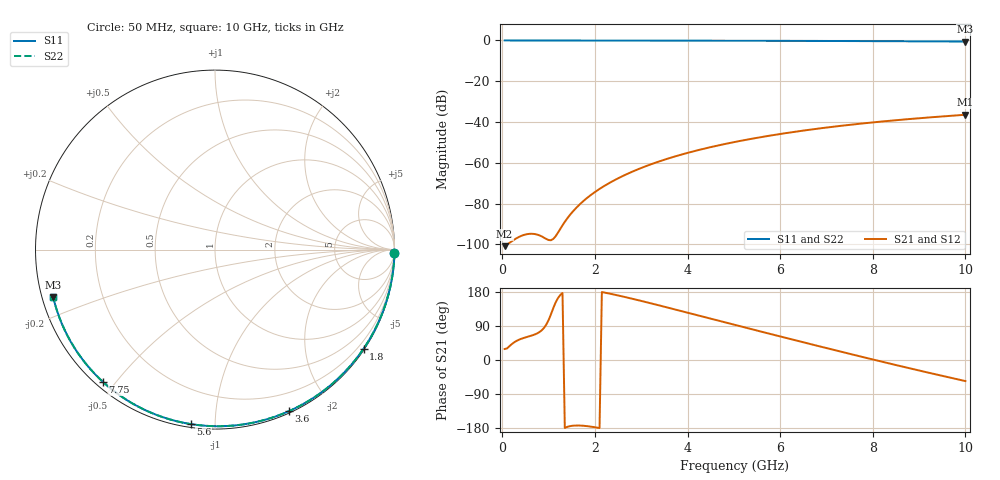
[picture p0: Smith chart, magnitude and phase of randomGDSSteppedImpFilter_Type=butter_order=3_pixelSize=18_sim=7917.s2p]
! freq	dB(S11)	phase(S11)	dB(S12)	phase(S12)
!  dB(S21)	phase(S21)	dB(S22)	phase(S22)
!S-par simulation data
#  GHz  S  DB  R 50
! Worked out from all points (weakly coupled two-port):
!   200 points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, 50 MHz to 10 GHz, reference 50 ohm
!   highest |S21| = -36.42 dB at 10 GHz (marker M1); lowest = -100.9 dB at 50 MHz (marker M2)
!   lowest |S11| = -0.5 dB at 10 GHz (marker M3), VSWR 32.11, Z = 1.59 - j7.15 ohm
!   |S11| at or under -10 dB: nowhere
!   |S22| runs from -0.5 to 0.0 dB; largest |S21 - S12| = 0
!   S11 on the Smith chart (normalised r, x): 50 MHz: open; 1.8 GHz: 0.03, -3.30; 3.6 GHz: 0.02, -1.56; 5.6 GHz: 0.02, -0.87; 7.75 GHz: 0.02, -0.46; 10 GHz: 0.03, -0.14
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0.05  -0.00 -1.0  -100.85 29.0  -100.85 29.0  -0.00 -1.0
0.45  -0.01 -8.6  -95.46 57.7  -95.46 57.7  -0.01 -8.6
0.85  -0.02 -16.1  -96.05 78.2  -96.05 78.2  -0.02 -16.1
1.65  -0.04 -30.9  -80.84 -172.9  -80.84 -172.9  -0.04 -30.9
1.7  -0.04 -31.8  -79.77 -173.1  -79.77 -173.1  -0.04 -31.9
1.75  -0.04 -32.8  -78.75 -173.5  -78.75 -173.5  -0.04 -32.8
1.8  -0.04 -33.7  -77.78 -174.1  -77.78 -174.1  -0.04 -33.7
2.1  -0.05 -39.1  -72.78 -179.6  -72.78 -179.6  -0.05 -39.1
2.3  -0.05 -42.7  -70.02 175.7  -70.02 175.7  -0.05 -42.7
2.5  -0.06 -46.3  -67.59 170.4  -67.59 170.4  -0.06 -46.3
2.9  -0.07 -53.4  -63.43 158.9  -63.43 158.9  -0.07 -53.4
3.4  -0.08 -62.0  -59.21 143.7  -59.21 143.7  -0.08 -62.1
3.6  -0.09 -65.5  -57.75 137.5  -57.75 137.5  -0.09 -65.5
4.3  -0.11 -77.2  -53.37 115.4  -53.37 115.4  -0.11 -77.2
5.05  -0.14 -89.3  -49.63 91.8  -49.63 91.8  -0.14 -89.3
5.6  -0.16 -98.0  -47.34 74.6  -47.34 74.6  -0.16 -98.0
6.15  -0.19 -106.4  -45.34 57.5  -45.34 57.5  -0.19 -106.5
6.7  -0.22 -114.7  -43.57 40.6  -43.57 40.6  -0.22 -114.8
7.75  -0.30 -130.3  -40.75 8.8  -40.75 8.8  -0.30 -130.4
8.35  -0.36 -139.1  -39.41 -8.9  -39.41 -8.9  -0.36 -139.2
9.2  -0.45 -151.7  -37.77 -33.4  -37.77 -33.4  -0.45 -151.8
10  -0.54 -163.7  -36.42 -55.6  -36.42 -55.6  -0.54 -163.8
